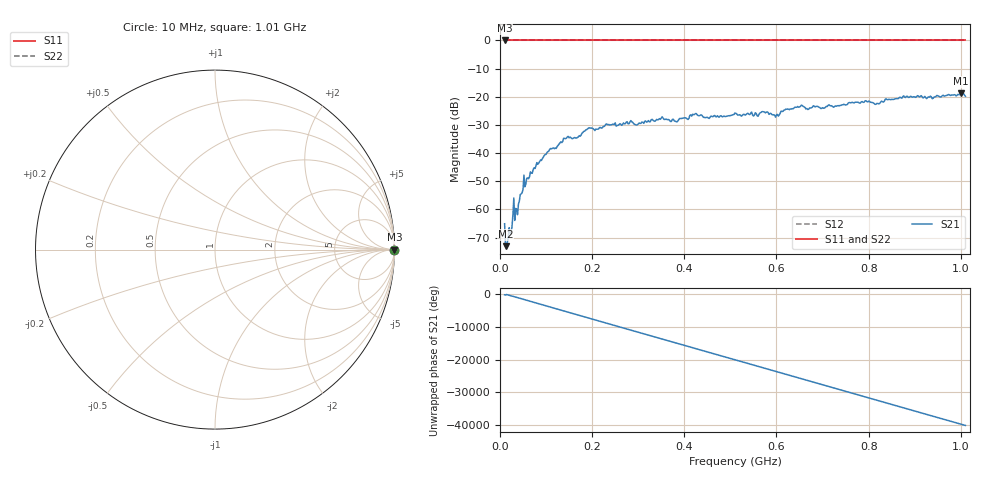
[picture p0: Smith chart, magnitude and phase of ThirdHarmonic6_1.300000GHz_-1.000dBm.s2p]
! 8/16/2025 2:18:00 PM
! C:\ANRITSUVNA\TEMP\TEMP.S2P
! CHANNEL.1
! TR.MEASUREMENT
! RAW.DATA
! RF.CORRECTION.OFF
! AVERAGING.OFF
! IF.BANDWIDTH: 5KHZ
! SWEEPTYPE:  FREQ.SWEEP(Linear)
! Reference Plane Port Info
! PORT:  PORT1  PORT2
! DISTANCE:  0  m  0  m
! TIME:  0  s  0  s
! PHASE.OFFSET:  0  deg.  0  deg.
! LOSS:  0  dB  0  dB
! REF.LOSS:  0  dB  0  dB
! REF.FREQ:  0  Hz  0  Hz
! Power Info
! POWER:  -20  dBm  -20  dBm
! EFF.POWER:  -20  dBm  -20  dBm
! SOURCE.ATTEN:  0  dB  0  dB
! TEST.ATTEN:  0  dB  0  dB
# GHZ S RI R 50.0
! FREQ.GHZ  S11RE  S11IM  S21RE  S21IM  S12RE  S12IM  S22RE  S22IM
!; PortSelection: Port_12
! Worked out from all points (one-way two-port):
!   501 points, 10 MHz to 1.01 GHz, reference 50 ohm
!   highest |S21| = -18.82 dB at 1 GHz (marker M1); lowest = -73.0 dB at 12 MHz (marker M2)
!   lowest |S11| = 0.0 dB at 10 MHz (marker M3)
!   |S11| at or under -10 dB: nowhere
!   |S22| runs from 0.0 to 0.0 dB; largest |S21 - S12| = 1.1
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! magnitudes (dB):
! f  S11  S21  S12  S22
! 10 MHz  0.0  -65.1  0.0  0.0
! 12 MHz  0.0  -73.0  0.0  0.0
! 16 MHz  0.0  -71.6  0.0  0.0
! 20 MHz  0.0  -66.5  0.0  0.0
! 32 MHz  0.0  -63.9  0.0  0.0
! 36 MHz  0.0  -59.8  0.0  0.0
! 48 MHz  0.0  -54.1  0.0  0.0
! 76 MHz  0.0  -45.5  0.0  0.0
! 106 MHz  0.0  -39.2  0.0  0.0
! 142 MHz  0.0  -34.9  0.0  0.0
! 178 MHz  0.0  -32.9  0.0  0.0
! 232 MHz  0.0  -29.7  0.0  0.0
! 344 MHz  0.0  -28.1  0.0  0.0
! 382 MHz  0.0  -28.8  0.0  0.0
! 422 MHz  0.0  -26.3  0.0  0.0
! 510 MHz  0.0  -25.8  0.0  0.0
! 602 MHz  0.0  -26.3  0.0  0.0
! 620 MHz  0.0  -24.4  0.0  0.0
! 678 MHz  0.0  -23.7  0.0  0.0
! 844 MHz  0.0  -20.9  0.0  0.0
! 1 GHz  0.0  -18.8  0.0  0.0
! 1.01 GHz  0.0  -19.8  0.0  0.0
